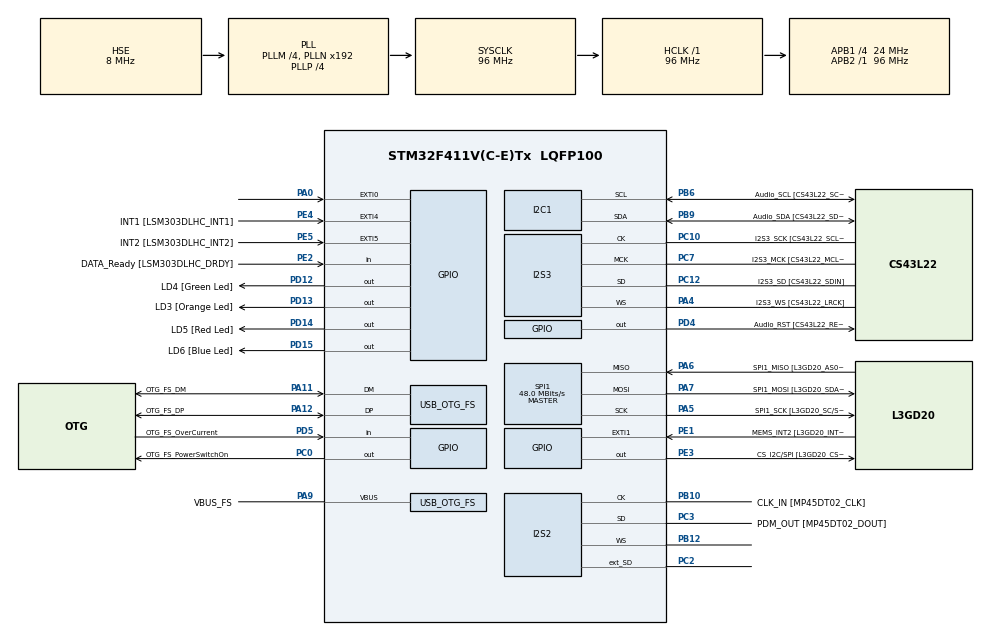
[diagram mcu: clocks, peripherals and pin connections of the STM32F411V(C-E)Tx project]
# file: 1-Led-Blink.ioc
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I2S2.AudioFreq=I2S_AUDIOFREQ_96K
I2S2.ErrorAudioFreq=0.15 %
I2S2.FullDuplexMode=I2S_FULLDUPLEXMODE_ENABLE
I2S2.Instance=SPI$Index
I2S2.RealAudioFreq=96.153 KHz
I2S2.VirtualMode=I2S_MODE_MASTER
I2S3.AudioFreq=I2S_AUDIOFREQ_96K
I2S3.ErrorAudioFreq=-6.99 %
I2S3.FullDuplexMode=I2S_FULLDUPLEXMODE_DISABLE
I2S3.Instance=SPI$Index
I2S3.RealAudioFreq=89.285 KHz
I2S3.VirtualMode=I2S_MODE_MASTER
Mcu.Family=STM32F4
Mcu.Name=STM32F411V(C-E)Tx
Mcu.Package=LQFP100
NVIC.OTG_FS_IRQn=true\:0\:0\:false\:false\:true\:true\:true\:true
NVIC.PriorityGroup=NVIC_PRIORITYGROUP_0
PA0-WKUP.GPIO_ModeDefaultEXTI=GPIO_MODE_EVT_RISING
PA0-WKUP.Signal=GPXTI0
PA10.GPIO_Label=OTG_FS_ID
PA10.Signal=USB_OTG_FS_ID
PA11.GPIO_Label=OTG_FS_DM
PA11.Mode=Host_Only
PA11.Signal=USB_OTG_FS_DM
PA12.GPIO_Label=OTG_FS_DP
PA12.Mode=Host_Only
PA12.Signal=USB_OTG_FS_DP
PA13.GPIO_Label=SWDIO
PA13.Mode=Serial_Wire
PA13.Signal=SYS_JTMS-SWDIO
PA14.GPIO_Label=SWCLK
PA14.Mode=Serial_Wire
PA14.Signal=SYS_JTCK-SWCLK
PA4.GPIO_Label=I2S3_WS [CS43L22_LRCK]
PA4.GPIO_Mode=GPIO_MODE_AF_PP
PA4.GPIO_PuPd=GPIO_NOPULL
PA4.GPIO_Speed=GPIO_SPEED_FREQ_LOW
PA4.Mode=Half_Duplex_Master
PA4.Signal=I2S3_WS
PA5.GPIO_Label=SPI1_SCK [L3GD20_SC/SPC]
PA5.Mode=Full_Duplex_Master
PA5.Signal=SPI1_SCK
PA6.GPIO_Label=SPI1_MISO [L3GD20_AS0/SDO]
PA6.Mode=Full_Duplex_Master
PA6.Signal=SPI1_MISO
PA7.GPIO_Label=SPI1_MOSI [L3GD20_SDA/SDI/SDO]
PA7.Mode=Full_Duplex_Master
PA7.Signal=SPI1_MOSI
PA9.GPIO_Label=VBUS_FS
PA9.Mode=Activate_VBUS
PA9.Signal=USB_OTG_FS_VBUS
PB10.GPIO_Label=CLK_IN [MP45DT02_CLK]
PB10.Mode=Full_Duplex_Master
PB10.Signal=I2S2_CK
PB12.Mode=Full_Duplex_Master
PB12.Signal=I2S2_WS
PB3.GPIO_Label=SWO
PB3.Signal=SYS_JTDO-SWO
PB6.GPIO_Label=Audio_SCL [CS43L22_SCL]
PB6.GPIO_Mode=GPIO_MODE_AF_OD
PB6.GPIO_Pu=GPIO_PULLUP
PB6.GPIO_PuPd=GPIO_NOPULL
PB6.GPIO_Speed=GPIO_SPEED_FREQ_LOW
PB6.Mode=I2C
PB6.Signal=I2C1_SCL
PB9.GPIO_Label=Audio_SDA [CS43L22_SDA]
PB9.GPIO_Mode=GPIO_MODE_AF_OD
PB9.GPIO_Pu=GPIO_PULLUP
PB9.GPIO_PuPd=GPIO_NOPULL
PB9.GPIO_Speed=GPIO_SPEED_FREQ_LOW
PB9.Mode=I2C
PB9.Signal=I2C1_SDA
PC0.GPIO_Label=OTG_FS_PowerSwitchOn
PC0.PinState=GPIO_PIN_SET
PC0.Signal=GPIO_Output
PC10.GPIO_Label=I2S3_SCK [CS43L22_SCLK]
PC10.GPIO_Mode=GPIO_MODE_AF_PP
PC10.GPIO_PuPd=GPIO_NOPULL
PC10.GPIO_Speed=GPIO_SPEED_FREQ_LOW
PC10.Mode=Half_Duplex_Master
PC10.Signal=I2S3_CK
PC12.GPIO_Label=I2S3_SD [CS43L22_SDIN]
PC12.GPIO_Mode=GPIO_MODE_AF_PP
PC12.GPIO_PuPd=GPIO_NOPULL
PC12.GPIO_Speed=GPIO_SPEED_FREQ_LOW
PC12.Mode=Half_Duplex_Master
PC12.Signal=I2S3_SD
PC14-OSC32_IN.GPIO_Label=PC14-OSC32_IN
PC14-OSC32_IN.Mode=LSE-External-Oscillator
PC14-OSC32_IN.Signal=RCC_OSC32_IN
PC15-OSC32_OUT.GPIO_Label=PC15-OSC32_OUT
PC15-OSC32_OUT.Mode=LSE-External-Oscillator
PC15-OSC32_OUT.Signal=RCC_OSC32_OUT
PC2.Mode=Full_Duplex_Master
PC2.Signal=I2S2_ext_SD
PC3.GPIO_Label=PDM_OUT [MP45DT02_DOUT]
PC3.Mode=Full_Duplex_Master
PC3.Signal=I2S2_SD
PC7.GPIO_Label=I2S3_MCK [CS43L22_MCLK]
PC7.GPIO_Mode=GPIO_MODE_AF_PP
PC7.GPIO_PuPd=GPIO_NOPULL
PC7.GPIO_Speed=GPIO_SPEED_FREQ_LOW
PC7.Mode=Master_Clock_Activated
PC7.Signal=I2S3_MCK
PD12.GPIO_Label=LD4 [Green Led]
PD12.GPIO_PuPd=GPIO_NOPULL
PD12.GPIO_Speed=GPIO_SPEED_FREQ_LOW
PD12.Signal=GPIO_Output
PD13.GPIO_Label=LD3 [Orange Led]
PD13.GPIO_PuPd=GPIO_NOPULL
PD13.GPIO_Speed=GPIO_SPEED_FREQ_LOW
PD13.Signal=GPIO_Output
PD14.GPIO_Label=LD5 [Red Led]
PD14.GPIO_PuPd=GPIO_NOPULL
PD14.GPIO_Speed=GPIO_SPEED_FREQ_LOW
PD14.Signal=GPIO_Output
PD15.GPIO_Label=LD6 [Blue Led]
PD15.GPIO_PuPd=GPIO_NOPULL
PD15.GPIO_Speed=GPIO_SPEED_FREQ_LOW
PD15.Signal=GPIO_Output
PD4.GPIO_Label=Audio_RST [CS43L22_RESET]
PD4.Signal=GPIO_Output
PD5.GPIO_Label=OTG_FS_OverCurrent
PD5.Signal=GPIO_Input
PE1.GPIO_Label=MEMS_INT2 [L3GD20_INT2]
PE1.GPIO_ModeDefaultEXTI=GPIO_MODE_EVT_RISING
PE1.Signal=GPXTI1
PE2.GPIO_Label=DATA_Ready [LSM303DLHC_DRDY]
PE2.Signal=GPIO_Input
PE3.GPIO_Label=CS_I2C/SPI [L3GD20_CS_I2C/SPI]
PE3.Signal=GPIO_Output
PE4.GPIO_Label=INT1 [LSM303DLHC_INT1]
PE4.GPIO_ModeDefaultEXTI=GPIO_MODE_EVT_RISING
PE4.Signal=GPXTI4
PE5.GPIO_Label=INT2 [LSM303DLHC_INT2]
PE5.GPIO_ModeDefaultEXTI=GPIO_MODE_EVT_RISING
PE5.Signal=GPXTI5
PH0\ -\ OSC_IN.GPIO_Label=PH0-OSC_IN
PH0\ -\ OSC_IN.Mode=HSE-External-Oscillator
PH0\ -\ OSC_IN.Signal=RCC_OSC_IN
PH1\ -\ OSC_OUT.GPIO_Label=PH1-OSC_OUT
PH1\ -\ OSC_OUT.Mode=HSE-External-Oscillator
PH1\ -\ OSC_OUT.Signal=RCC_OSC_OUT
ProjectManager.HeapSize=0x200
ProjectManager.StackSize=0x400
ProjectManager.TargetToolchain=STM32CubeIDE
RCC.48MHZClocksFreq_Value=48000000
RCC.AHBFreq_Value=96000000
RCC.APB1CLKDivider=RCC_HCLK_DIV4
RCC.APB1Freq_Value=24000000
RCC.APB1TimFreq_Value=48000000
RCC.APB2Freq_Value=96000000
RCC.APB2TimFreq_Value=96000000
RCC.CortexFreq_Value=96000000
RCC.HCLKFreq_Value=96000000
RCC.HSE_VALUE=8000000
RCC.HSI_VALUE=16000000
RCC.PLLI2SM=5
RCC.PLLI2SN=200
RCC.PLLM=4
RCC.PLLP=RCC_PLLP_DIV4
RCC.PLLQ=8
RCC.SYSCLKFreq_VALUE=96000000
RCC.SYSCLKSource=RCC_SYSCLKSOURCE_PLLCLK
RCC.VCOOutputFreq_Value=384000000
SPI1.BaudRatePrescaler=SPI_BAUDRATEPRESCALER_2
SPI1.CalculateBaudRate=48.0 MBits/s
SPI1.Direction=SPI_DIRECTION_2LINES
SPI1.Mode=SPI_MODE_MASTER
SPI1.VirtualType=VM_MASTER
USB_HOST.BSP.number=1
USB_HOST.USBH_HandleTypeDef=hUsbHostFS
USB_HOST.VirtualModeFS=Cdc
USB_HOST0.BSP.STBoard=false
USB_HOST0.BSP.api=Unknown
USB_HOST0.BSP.instance=PC0
USB_HOST0.BSP.ip=GPIO
USB_HOST0.BSP.mode=Output
USB_HOST0.BSP.name=Drive_VBUS_FS
USB_HOST0.BSP.solution=PC0
USB_OTG_FS.VirtualMode=Host_Only
USB_OTG_FS.phy_itface=HCD_PHY_EMBEDDED
VP_USB_HOST_VS_USB_HOST_CDC_FS.Mode=CDC_FS
board=STM32F411E-DISCO

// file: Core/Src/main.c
/* USER CODE BEGIN Header */
/**
  ******************************************************************************
  * @file           : main.c
  * @brief          : Main program body
  ******************************************************************************
  * @attention
  *
  * Copyright (c) 2023 STMicroelectronics.
  * All rights reserved.
  *
  * This software is licensed under terms that can be found in the LICENSE file
  * in the root directory of this software component.
  * If no LICENSE file comes with this software, it is provided AS-IS.
  *
  ******************************************************************************
  */
/* USER CODE END Header */
#include "main.h"
#include "usb_host.h"

I2C_HandleTypeDef hi2c1;

I2S_HandleTypeDef hi2s2;
I2S_HandleTypeDef hi2s3;

SPI_HandleTypeDef hspi1;

void SystemClock_Config(void);
void PeriphCommonClock_Config(void);
static void MX_GPIO_Init(void);
static void MX_I2C1_Init(void);
static void MX_I2S2_Init(void);
static void MX_I2S3_Init(void);
static void MX_SPI1_Init(void);
void MX_USB_HOST_Process(void);

int main(void)
{

  /* MCU Configuration--------------------------------------------------------*/

  /* Reset of all peripherals, Initializes the Flash interface and the Systick. */
  HAL_Init();

  /* Configure the system clock */
  SystemClock_Config();

/* Configure the peripherals common clocks */
  PeriphCommonClock_Config();

  /* Initialize all configured peripherals */
  MX_GPIO_Init();
  MX_I2C1_Init();
  MX_I2S2_Init();
  MX_I2S3_Init();
  MX_SPI1_Init();
  MX_USB_HOST_Init();

  /* Infinite loop */
  while (1)
  {
    MX_USB_HOST_Process();

    /* USER CODE BEGIN 3 */
    for(volatile int i=0; i<5; i++){
       HAL_GPIO_WritePin(GPIOD, GPIO_PIN_12,SET);
       HAL_Delay(150);
       HAL_GPIO_WritePin(GPIOD, GPIO_PIN_12,RESET);

       HAL_GPIO_WritePin(GPIOD, GPIO_PIN_13,SET);
       HAL_Delay(150);
       HAL_GPIO_WritePin(GPIOD, GPIO_PIN_13,RESET);

       HAL_GPIO_WritePin(GPIOD, GPIO_PIN_14,SET);
       HAL_Delay(150);
       HAL_GPIO_WritePin(GPIOD, GPIO_PIN_14,RESET);

       HAL_GPIO_WritePin(GPIOD, GPIO_PIN_15,SET);
       HAL_Delay(150);
       HAL_GPIO_WritePin(GPIOD, GPIO_PIN_15,RESET);

       }

       for(volatile int j=0; j<10; j++){
       	HAL_Delay(75);
       	HAL_GPIO_TogglePin(GPIOD, GPIO_PIN_12 | GPIO_PIN_13 | GPIO_PIN_14 | GPIO_PIN_15);

       }
  }
  /* USER CODE END 3 */
}

void SystemClock_Config(void)
{
  RCC_OscInitTypeDef RCC_OscInitStruct = {0};
  RCC_ClkInitTypeDef RCC_ClkInitStruct = {0};

  /** Configure the main internal regulator output voltage
  */
  __HAL_RCC_PWR_CLK_ENABLE();
  __HAL_PWR_VOLTAGESCALING_CONFIG(PWR_REGULATOR_VOLTAGE_SCALE1);

  /** Initializes the RCC Oscillators according to the specified parameters
  * in the RCC_OscInitTypeDef structure.
  */
  RCC_OscInitStruct.OscillatorType = RCC_OSCILLATORTYPE_HSE;
  RCC_OscInitStruct.HSEState = RCC_HSE_ON;
  RCC_OscInitStruct.PLL.PLLState = RCC_PLL_ON;
  RCC_OscInitStruct.PLL.PLLSource = RCC_PLLSOURCE_HSE;
  RCC_OscInitStruct.PLL.PLLM = 4;
  RCC_OscInitStruct.PLL.PLLN = 192;
  RCC_OscInitStruct.PLL.PLLP = RCC_PLLP_DIV4;
  RCC_OscInitStruct.PLL.PLLQ = 8;
  if (HAL_RCC_OscConfig(&RCC_OscInitStruct) != HAL_OK)
  {
    Error_Handler();
  }

  /** Initializes the CPU, AHB and APB buses clocks
  */
  RCC_ClkInitStruct.ClockType = RCC_CLOCKTYPE_HCLK|RCC_CLOCKTYPE_SYSCLK
                              |RCC_CLOCKTYPE_PCLK1|RCC_CLOCKTYPE_PCLK2;
  RCC_ClkInitStruct.SYSCLKSource = RCC_SYSCLKSOURCE_PLLCLK;
  RCC_ClkInitStruct.AHBCLKDivider = RCC_SYSCLK_DIV1;
  RCC_ClkInitStruct.APB1CLKDivider = RCC_HCLK_DIV4;
  RCC_ClkInitStruct.APB2CLKDivider = RCC_HCLK_DIV1;

  if (HAL_RCC_ClockConfig(&RCC_ClkInitStruct, FLASH_LATENCY_3) != HAL_OK)
  {
    Error_Handler();
  }
}

void PeriphCommonClock_Config(void)
{
  RCC_PeriphCLKInitTypeDef PeriphClkInitStruct = {0};

  /** Initializes the peripherals clock
  */
  PeriphClkInitStruct.PeriphClockSelection = RCC_PERIPHCLK_I2S;
  PeriphClkInitStruct.PLLI2S.PLLI2SN = 200;
  PeriphClkInitStruct.PLLI2S.PLLI2SM = 5;
  PeriphClkInitStruct.PLLI2S.PLLI2SR = 2;
  if (HAL_RCCEx_PeriphCLKConfig(&PeriphClkInitStruct) != HAL_OK)
  {
    Error_Handler();
  }
}

static void MX_I2C1_Init(void)
{

  hi2c1.Instance = I2C1;
  hi2c1.Init.ClockSpeed = 100000;
  hi2c1.Init.DutyCycle = I2C_DUTYCYCLE_2;
  hi2c1.Init.OwnAddress1 = 0;
  hi2c1.Init.AddressingMode = I2C_ADDRESSINGMODE_7BIT;
  hi2c1.Init.DualAddressMode = I2C_DUALADDRESS_DISABLE;
  hi2c1.Init.OwnAddress2 = 0;
  hi2c1.Init.GeneralCallMode = I2C_GENERALCALL_DISABLE;
  hi2c1.Init.NoStretchMode = I2C_NOSTRETCH_DISABLE;
  if (HAL_I2C_Init(&hi2c1) != HAL_OK)
  {
    Error_Handler();
  }

}

static void MX_I2S2_Init(void)
{

  hi2s2.Instance = SPI2;
  hi2s2.Init.Mode = I2S_MODE_MASTER_TX;
  hi2s2.Init.Standard = I2S_STANDARD_PHILIPS;
  hi2s2.Init.DataFormat = I2S_DATAFORMAT_16B;
  hi2s2.Init.MCLKOutput = I2S_MCLKOUTPUT_DISABLE;
  hi2s2.Init.AudioFreq = I2S_AUDIOFREQ_96K;
  hi2s2.Init.CPOL = I2S_CPOL_LOW;
  hi2s2.Init.ClockSource = I2S_CLOCK_PLL;
  hi2s2.Init.FullDuplexMode = I2S_FULLDUPLEXMODE_ENABLE;
  if (HAL_I2S_Init(&hi2s2) != HAL_OK)
  {
    Error_Handler();
  }

}

static void MX_I2S3_Init(void)
{

  hi2s3.Instance = SPI3;
  hi2s3.Init.Mode = I2S_MODE_MASTER_TX;
  hi2s3.Init.Standard = I2S_STANDARD_PHILIPS;
  hi2s3.Init.DataFormat = I2S_DATAFORMAT_16B;
  hi2s3.Init.MCLKOutput = I2S_MCLKOUTPUT_ENABLE;
  hi2s3.Init.AudioFreq = I2S_AUDIOFREQ_96K;
  hi2s3.Init.CPOL = I2S_CPOL_LOW;
  hi2s3.Init.ClockSource = I2S_CLOCK_PLL;
  hi2s3.Init.FullDuplexMode = I2S_FULLDUPLEXMODE_DISABLE;
  if (HAL_I2S_Init(&hi2s3) != HAL_OK)
  {
    Error_Handler();
  }

}

static void MX_SPI1_Init(void)
{

  /* SPI1 parameter configuration*/
  hspi1.Instance = SPI1;
  hspi1.Init.Mode = SPI_MODE_MASTER;
  hspi1.Init.Direction = SPI_DIRECTION_2LINES;
  hspi1.Init.DataSize = SPI_DATASIZE_8BIT;
  hspi1.Init.CLKPolarity = SPI_POLARITY_LOW;
  hspi1.Init.CLKPhase = SPI_PHASE_1EDGE;
  hspi1.Init.NSS = SPI_NSS_SOFT;
  hspi1.Init.BaudRatePrescaler = SPI_BAUDRATEPRESCALER_2;
  hspi1.Init.FirstBit = SPI_FIRSTBIT_MSB;
  hspi1.Init.TIMode = SPI_TIMODE_DISABLE;
  hspi1.Init.CRCCalculation = SPI_CRCCALCULATION_DISABLE;
  hspi1.Init.CRCPolynomial = 10;
  if (HAL_SPI_Init(&hspi1) != HAL_OK)
  {
    Error_Handler();
  }

}

static void MX_GPIO_Init(void)
{
  GPIO_InitTypeDef GPIO_InitStruct = {0};

  /* GPIO Ports Clock Enable */
  __HAL_RCC_GPIOE_CLK_ENABLE();
  __HAL_RCC_GPIOC_CLK_ENABLE();
  __HAL_RCC_GPIOH_CLK_ENABLE();
  __HAL_RCC_GPIOA_CLK_ENABLE();
  __HAL_RCC_GPIOB_CLK_ENABLE();
  __HAL_RCC_GPIOD_CLK_ENABLE();

  /*Configure GPIO pin Output Level */
  HAL_GPIO_WritePin(CS_I2C_SPI_GPIO_Port, CS_I2C_SPI_Pin, GPIO_PIN_RESET);

  /*Configure GPIO pin Output Level */
  HAL_GPIO_WritePin(OTG_FS_PowerSwitchOn_GPIO_Port, OTG_FS_PowerSwitchOn_Pin, GPIO_PIN_SET);

  /*Configure GPIO pin Output Level */
  HAL_GPIO_WritePin(GPIOD, LD4_Pin|LD3_Pin|LD5_Pin|LD6_Pin
                          |Audio_RST_Pin, GPIO_PIN_RESET);

  /*Configure GPIO pin : DATA_Ready_Pin */
  GPIO_InitStruct.Pin = DATA_Ready_Pin;
  GPIO_InitStruct.Mode = GPIO_MODE_INPUT;
  GPIO_InitStruct.Pull = GPIO_NOPULL;
  HAL_GPIO_Init(DATA_Ready_GPIO_Port, &GPIO_InitStruct);

  /*Configure GPIO pin : CS_I2C_SPI_Pin */
  GPIO_InitStruct.Pin = CS_I2C_SPI_Pin;
  GPIO_InitStruct.Mode = GPIO_MODE_OUTPUT_PP;
  GPIO_InitStruct.Pull = GPIO_NOPULL;
  GPIO_InitStruct.Speed = GPIO_SPEED_FREQ_LOW;
  HAL_GPIO_Init(CS_I2C_SPI_GPIO_Port, &GPIO_InitStruct);

  /*Configure GPIO pins : INT1_Pin INT2_Pin MEMS_INT2_Pin */
  GPIO_InitStruct.Pin = INT1_Pin|INT2_Pin|MEMS_INT2_Pin;
  GPIO_InitStruct.Mode = GPIO_MODE_EVT_RISING;
  GPIO_InitStruct.Pull = GPIO_NOPULL;
  HAL_GPIO_Init(GPIOE, &GPIO_InitStruct);

  /*Configure GPIO pin : OTG_FS_PowerSwitchOn_Pin */
  GPIO_InitStruct.Pin = OTG_FS_PowerSwitchOn_Pin;
  GPIO_InitStruct.Mode = GPIO_MODE_OUTPUT_PP;
  GPIO_InitStruct.Pull = GPIO_NOPULL;
  GPIO_InitStruct.Speed = GPIO_SPEED_FREQ_LOW;
  HAL_GPIO_Init(OTG_FS_PowerSwitchOn_GPIO_Port, &GPIO_InitStruct);

  /*Configure GPIO pin : PA0 */
  GPIO_InitStruct.Pin = GPIO_PIN_0;
  GPIO_InitStruct.Mode = GPIO_MODE_EVT_RISING;
  GPIO_InitStruct.Pull = GPIO_NOPULL;
  HAL_GPIO_Init(GPIOA, &GPIO_InitStruct);

  /*Configure GPIO pins : LD4_Pin LD3_Pin LD5_Pin LD6_Pin
                           Audio_RST_Pin */
  GPIO_InitStruct.Pin = LD4_Pin|LD3_Pin|LD5_Pin|LD6_Pin
                          |Audio_RST_Pin;
  GPIO_InitStruct.Mode = GPIO_MODE_OUTPUT_PP;
  GPIO_InitStruct.Pull = GPIO_NOPULL;
  GPIO_InitStruct.Speed = GPIO_SPEED_FREQ_LOW;
  HAL_GPIO_Init(GPIOD, &GPIO_InitStruct);

  /*Configure GPIO pin : OTG_FS_OverCurrent_Pin */
  GPIO_InitStruct.Pin = OTG_FS_OverCurrent_Pin;
  GPIO_InitStruct.Mode = GPIO_MODE_INPUT;
  GPIO_InitStruct.Pull = GPIO_NOPULL;
  HAL_GPIO_Init(OTG_FS_OverCurrent_GPIO_Port, &GPIO_InitStruct);

}

void Error_Handler(void)
{
  __disable_irq();
  while (1)
  {
  }
}
